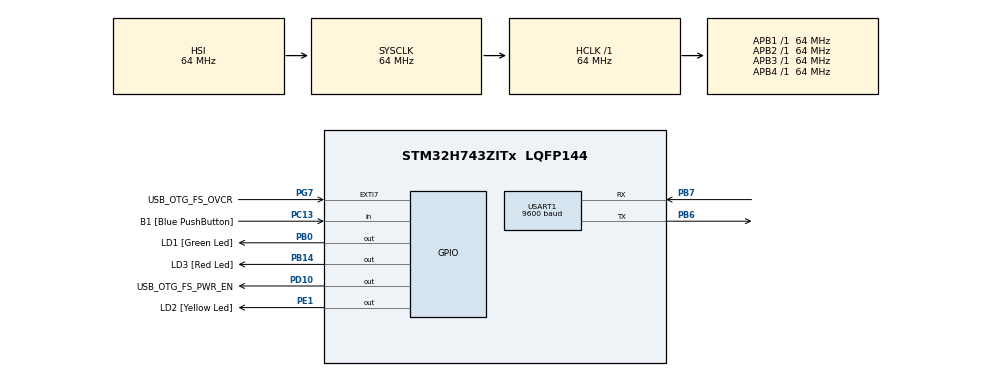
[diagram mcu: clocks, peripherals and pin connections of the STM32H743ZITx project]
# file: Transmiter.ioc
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Mcu.Family=STM32H7
Mcu.Name=STM32H743ZITx
Mcu.Package=LQFP144
NVIC.PriorityGroup=NVIC_PRIORITYGROUP_4
PA1.Signal=ETH_REF_CLK
PA2.Signal=ETH_MDIO
PA7.Signal=ETH_CRS_DV
PB0.GPIO_Label=LD1 [Green Led]
PB0.Signal=GPIO_Output
PB14.GPIO_Label=LD3 [Red Led]
PB14.Signal=GPIO_Output
PB6.Mode=Asynchronous
PB6.Signal=USART1_TX
PB7.Mode=Asynchronous
PB7.Signal=USART1_RX
PC1.Signal=ETH_MDC
PC13.GPIO_Label=B1 [Blue PushButton]
PC13.Signal=GPIO_Input
PC14-OSC32_IN\ (OSC32_IN).Mode=LSE-External-Oscillator
PC14-OSC32_IN\ (OSC32_IN).Signal=RCC_OSC32_IN
PC15-OSC32_OUT\ (OSC32_OUT).Mode=LSE-External-Oscillator
PC15-OSC32_OUT\ (OSC32_OUT).Signal=RCC_OSC32_OUT
PC4.Signal=ETH_RXD0
PC5.Signal=ETH_RXD1
PD10.GPIO_Label=USB_OTG_FS_PWR_EN
PD10.Signal=GPIO_Output
PD8.GPIO_Label=STLINK_RX
PD8.Signal=USART3_TX
PD9.GPIO_Label=STLINK_TX
PD9.Signal=USART3_RX
PE1.GPIO_Label=LD2 [Yellow Led]
PE1.Signal=GPIO_Output
PG7.GPIO_Label=USB_OTG_FS_OVCR
PG7.Signal=GPXTI7
PH0-OSC_IN\ (PH0).Mode=HSE-External-Clock-Source
PH0-OSC_IN\ (PH0).Signal=RCC_OSC_IN
PH1-OSC_OUT\ (PH1).Signal=RCC_OSC_OUT
ProjectManager.HeapSize=0x200
ProjectManager.StackSize=0x400
ProjectManager.TargetToolchain=STM32CubeIDE
RCC.ADCFreq_Value=16125000
RCC.APB1Freq_Value=64000000
RCC.APB2Freq_Value=64000000
RCC.APB3Freq_Value=64000000
RCC.APB4Freq_Value=64000000
RCC.CortexFreq_Value=64000000
RCC.DIVM1=1
RCC.DIVN1=24
RCC.DIVQ1=4
RCC.HCLKFreq_Value=64000000
RCC.HSE_VALUE=8000000
RCC.PLLFRACN=0
RCC.PLLSourceVirtual=RCC_PLLSOURCE_HSE
RCC.SYSCLKFreq_VALUE=64000000
RCC.USBFreq_Value=48000000
USART1.BaudRate=9600
USART1.VirtualMode-Asynchronous=VM_ASYNC
VP_TIM1_VS_ClockSourceINT.Mode=Internal
board=NUCLEO-H743ZI2

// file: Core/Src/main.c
/* USER CODE BEGIN Header */
/**
  ******************************************************************************
  * @file           : main.c
  * @brief          : Main program body
  ******************************************************************************
  * @attention
  *
  * <h2><center>&copy; Copyright (c) 2020 STMicroelectronics.
  * All rights reserved.</center></h2>
  *
  * This software component is licensed by ST under BSD 3-Clause license,
  * the "License"; You may not use this file except in compliance with the
  * License. You may obtain a copy of the License at:
  *                        opensource.org/licenses/BSD-3-Clause
  *
  ******************************************************************************
  */
/* USER CODE END Header */

#include "main.h"

/* USER CODE BEGIN Includes */
#include "stdio.h"
#include "stdlib.h"
#include "retarget.h"
#include "string.h"
/* USER CODE END Includes */

TIM_HandleTypeDef htim1;

UART_HandleTypeDef huart1;

void SystemClock_Config(void);
static void MX_GPIO_Init(void);
static void MX_TIM1_Init(void);
static void MX_USART1_UART_Init(void);

/* USER CODE BEGIN 0 */
void SendMess(char *Message){

	  uint8_t tmp[strlen(Message)];

		int i;
		for(i=0;i < strlen(Message);i++){

			tmp[i] = (uint8_t)(Message[i]);
		}
		HAL_UART_Transmit(&huart1, tmp, sizeof(tmp)/sizeof(uint8_t), HAL_MAX_DELAY);
		HAL_Delay(1000);

}

/* USER CODE END 0 */

int main(void)
{
  /* USER CODE BEGIN 1 */
	char *mess = "A";
	uint8_t Rec = 0;
  /* USER CODE END 1 */

  /* MCU Configuration--------------------------------------------------------*/

  /* Reset of all peripherals, Initializes the Flash interface and the Systick. */
  HAL_Init();

  /* Configure the system clock */
  SystemClock_Config();

  /* Initialize all configured peripherals */
  MX_GPIO_Init();
  MX_TIM1_Init();
  MX_USART1_UART_Init();

  /* Infinite loop */
  /* USER CODE BEGIN WHILE */

  while (1)
  {

	SendMess(mess);
	HAL_Delay(20);
	HAL_UART_Receive(&huart1, &Rec, 1,1000);

if (Rec == 66){
	HAL_GPIO_WritePin(LD2_GPIO_Port, LD2_Pin, SET);
}
else{
	HAL_GPIO_WritePin(LD1_GPIO_Port, LD1_Pin, SET);
}
	HAL_Delay(1000);
	HAL_GPIO_WritePin(LD2_GPIO_Port, LD2_Pin, RESET);
	HAL_GPIO_WritePin(LD1_GPIO_Port, LD1_Pin, RESET);
	Rec = 0 ;
	HAL_Delay(980);
    /* USER CODE END WHILE */

  }
}

void SystemClock_Config(void)
{
  RCC_OscInitTypeDef RCC_OscInitStruct = {0};
  RCC_ClkInitTypeDef RCC_ClkInitStruct = {0};
  RCC_PeriphCLKInitTypeDef PeriphClkInitStruct = {0};

  /** Supply configuration update enable
  */
  HAL_PWREx_ConfigSupply(PWR_LDO_SUPPLY);
  /** Configure the main internal regulator output voltage
  */
  __HAL_PWR_VOLTAGESCALING_CONFIG(PWR_REGULATOR_VOLTAGE_SCALE3);

  while(!__HAL_PWR_GET_FLAG(PWR_FLAG_VOSRDY)) {}
  /** Initializes the CPU, AHB and APB busses clocks
  */
  RCC_OscInitStruct.OscillatorType = RCC_OSCILLATORTYPE_HSI;
  RCC_OscInitStruct.HSIState = RCC_HSI_DIV1;
  RCC_OscInitStruct.HSICalibrationValue = RCC_HSICALIBRATION_DEFAULT;
  RCC_OscInitStruct.PLL.PLLState = RCC_PLL_NONE;
  if (HAL_RCC_OscConfig(&RCC_OscInitStruct) != HAL_OK)
  {
    Error_Handler();
  }
  /** Initializes the CPU, AHB and APB busses clocks
  */
  RCC_ClkInitStruct.ClockType = RCC_CLOCKTYPE_HCLK|RCC_CLOCKTYPE_SYSCLK
                              |RCC_CLOCKTYPE_PCLK1|RCC_CLOCKTYPE_PCLK2
                              |RCC_CLOCKTYPE_D3PCLK1|RCC_CLOCKTYPE_D1PCLK1;
  RCC_ClkInitStruct.SYSCLKSource = RCC_SYSCLKSOURCE_HSI;
  RCC_ClkInitStruct.SYSCLKDivider = RCC_SYSCLK_DIV1;
  RCC_ClkInitStruct.AHBCLKDivider = RCC_HCLK_DIV1;
  RCC_ClkInitStruct.APB3CLKDivider = RCC_APB3_DIV1;
  RCC_ClkInitStruct.APB1CLKDivider = RCC_APB1_DIV1;
  RCC_ClkInitStruct.APB2CLKDivider = RCC_APB2_DIV1;
  RCC_ClkInitStruct.APB4CLKDivider = RCC_APB4_DIV1;

  if (HAL_RCC_ClockConfig(&RCC_ClkInitStruct, FLASH_LATENCY_0) != HAL_OK)
  {
    Error_Handler();
  }
  PeriphClkInitStruct.PeriphClockSelection = RCC_PERIPHCLK_USART1;
  PeriphClkInitStruct.Usart16ClockSelection = RCC_USART16CLKSOURCE_D2PCLK2;
  if (HAL_RCCEx_PeriphCLKConfig(&PeriphClkInitStruct) != HAL_OK)
  {
    Error_Handler();
  }
}

static void MX_TIM1_Init(void)
{

  TIM_ClockConfigTypeDef sClockSourceConfig = {0};
  TIM_MasterConfigTypeDef sMasterConfig = {0};

  htim1.Instance = TIM1;
  htim1.Init.Prescaler = 0;
  htim1.Init.CounterMode = TIM_COUNTERMODE_UP;
  htim1.Init.Period = 0;
  htim1.Init.ClockDivision = TIM_CLOCKDIVISION_DIV1;
  htim1.Init.RepetitionCounter = 0;
  htim1.Init.AutoReloadPreload = TIM_AUTORELOAD_PRELOAD_DISABLE;
  if (HAL_TIM_Base_Init(&htim1) != HAL_OK)
  {
    Error_Handler();
  }
  sClockSourceConfig.ClockSource = TIM_CLOCKSOURCE_INTERNAL;
  if (HAL_TIM_ConfigClockSource(&htim1, &sClockSourceConfig) != HAL_OK)
  {
    Error_Handler();
  }
  sMasterConfig.MasterOutputTrigger = TIM_TRGO_RESET;
  sMasterConfig.MasterOutputTrigger2 = TIM_TRGO2_RESET;
  sMasterConfig.MasterSlaveMode = TIM_MASTERSLAVEMODE_DISABLE;
  if (HAL_TIMEx_MasterConfigSynchronization(&htim1, &sMasterConfig) != HAL_OK)
  {
    Error_Handler();
  }

}

static void MX_USART1_UART_Init(void)
{

  huart1.Instance = USART1;
  huart1.Init.BaudRate = 9600;
  huart1.Init.WordLength = UART_WORDLENGTH_8B;
  huart1.Init.StopBits = UART_STOPBITS_1;
  huart1.Init.Parity = UART_PARITY_NONE;
  huart1.Init.Mode = UART_MODE_TX_RX;
  huart1.Init.HwFlowCtl = UART_HWCONTROL_NONE;
  huart1.Init.OverSampling = UART_OVERSAMPLING_16;
  huart1.Init.OneBitSampling = UART_ONE_BIT_SAMPLE_DISABLE;
  huart1.Init.ClockPrescaler = UART_PRESCALER_DIV1;
  huart1.AdvancedInit.AdvFeatureInit = UART_ADVFEATURE_NO_INIT;
  if (HAL_UART_Init(&huart1) != HAL_OK)
  {
    Error_Handler();
  }
  if (HAL_UARTEx_SetTxFifoThreshold(&huart1, UART_TXFIFO_THRESHOLD_1_8) != HAL_OK)
  {
    Error_Handler();
  }
  if (HAL_UARTEx_SetRxFifoThreshold(&huart1, UART_RXFIFO_THRESHOLD_1_8) != HAL_OK)
  {
    Error_Handler();
  }
  if (HAL_UARTEx_DisableFifoMode(&huart1) != HAL_OK)
  {
    Error_Handler();
  }

}

static void MX_GPIO_Init(void)
{
  GPIO_InitTypeDef GPIO_InitStruct = {0};

  /* GPIO Ports Clock Enable */
  __HAL_RCC_GPIOC_CLK_ENABLE();
  __HAL_RCC_GPIOH_CLK_ENABLE();
  __HAL_RCC_GPIOA_CLK_ENABLE();
  __HAL_RCC_GPIOB_CLK_ENABLE();
  __HAL_RCC_GPIOD_CLK_ENABLE();
  __HAL_RCC_GPIOG_CLK_ENABLE();
  __HAL_RCC_GPIOE_CLK_ENABLE();

  /*Configure GPIO pin Output Level */
  HAL_GPIO_WritePin(GPIOB, LD1_Pin|LD3_Pin, GPIO_PIN_RESET);

  /*Configure GPIO pin Output Level */
  HAL_GPIO_WritePin(USB_OTG_FS_PWR_EN_GPIO_Port, USB_OTG_FS_PWR_EN_Pin, GPIO_PIN_RESET);

  /*Configure GPIO pin Output Level */
  HAL_GPIO_WritePin(LD2_GPIO_Port, LD2_Pin, GPIO_PIN_RESET);

  /*Configure GPIO pin : B1_Pin */
  GPIO_InitStruct.Pin = B1_Pin;
  GPIO_InitStruct.Mode = GPIO_MODE_INPUT;
  GPIO_InitStruct.Pull = GPIO_NOPULL;
  HAL_GPIO_Init(B1_GPIO_Port, &GPIO_InitStruct);

  /*Configure GPIO pins : PC1 PC4 PC5 */
  GPIO_InitStruct.Pin = GPIO_PIN_1|GPIO_PIN_4|GPIO_PIN_5;
  GPIO_InitStruct.Mode = GPIO_MODE_AF_PP;
  GPIO_InitStruct.Pull = GPIO_NOPULL;
  GPIO_InitStruct.Speed = GPIO_SPEED_FREQ_LOW;
  GPIO_InitStruct.Alternate = GPIO_AF11_ETH;
  HAL_GPIO_Init(GPIOC, &GPIO_InitStruct);

  /*Configure GPIO pins : PA1 PA2 PA7 */
  GPIO_InitStruct.Pin = GPIO_PIN_1|GPIO_PIN_2|GPIO_PIN_7;
  GPIO_InitStruct.Mode = GPIO_MODE_AF_PP;
  GPIO_InitStruct.Pull = GPIO_NOPULL;
  GPIO_InitStruct.Speed = GPIO_SPEED_FREQ_LOW;
  GPIO_InitStruct.Alternate = GPIO_AF11_ETH;
  HAL_GPIO_Init(GPIOA, &GPIO_InitStruct);

  /*Configure GPIO pins : LD1_Pin LD3_Pin */
  GPIO_InitStruct.Pin = LD1_Pin|LD3_Pin;
  GPIO_InitStruct.Mode = GPIO_MODE_OUTPUT_PP;
  GPIO_InitStruct.Pull = GPIO_NOPULL;
  GPIO_InitStruct.Speed = GPIO_SPEED_FREQ_LOW;
  HAL_GPIO_Init(GPIOB, &GPIO_InitStruct);

  /*Configure GPIO pins : STLINK_RX_Pin STLINK_TX_Pin */
  GPIO_InitStruct.Pin = STLINK_RX_Pin|STLINK_TX_Pin;
  GPIO_InitStruct.Mode = GPIO_MODE_AF_PP;
  GPIO_InitStruct.Pull = GPIO_NOPULL;
  GPIO_InitStruct.Speed = GPIO_SPEED_FREQ_LOW;
  GPIO_InitStruct.Alternate = GPIO_AF7_USART3;
  HAL_GPIO_Init(GPIOD, &GPIO_InitStruct);

  /*Configure GPIO pin : USB_OTG_FS_PWR_EN_Pin */
  GPIO_InitStruct.Pin = USB_OTG_FS_PWR_EN_Pin;
  GPIO_InitStruct.Mode = GPIO_MODE_OUTPUT_PP;
  GPIO_InitStruct.Pull = GPIO_NOPULL;
  GPIO_InitStruct.Speed = GPIO_SPEED_FREQ_LOW;
  HAL_GPIO_Init(USB_OTG_FS_PWR_EN_GPIO_Port, &GPIO_InitStruct);

  /*Configure GPIO pin : USB_OTG_FS_OVCR_Pin */
  GPIO_InitStruct.Pin = USB_OTG_FS_OVCR_Pin;
  GPIO_InitStruct.Mode = GPIO_MODE_IT_RISING;
  GPIO_InitStruct.Pull = GPIO_NOPULL;
  HAL_GPIO_Init(USB_OTG_FS_OVCR_GPIO_Port, &GPIO_InitStruct);

  /*Configure GPIO pin : LD2_Pin */
  GPIO_InitStruct.Pin = LD2_Pin;
  GPIO_InitStruct.Mode = GPIO_MODE_OUTPUT_PP;
  GPIO_InitStruct.Pull = GPIO_NOPULL;
  GPIO_InitStruct.Speed = GPIO_SPEED_FREQ_LOW;
  HAL_GPIO_Init(LD2_GPIO_Port, &GPIO_InitStruct);

}

void Error_Handler(void)
{
}

/************************ (C) COPYRIGHT STMicroelectronics *****END OF FILE****/
